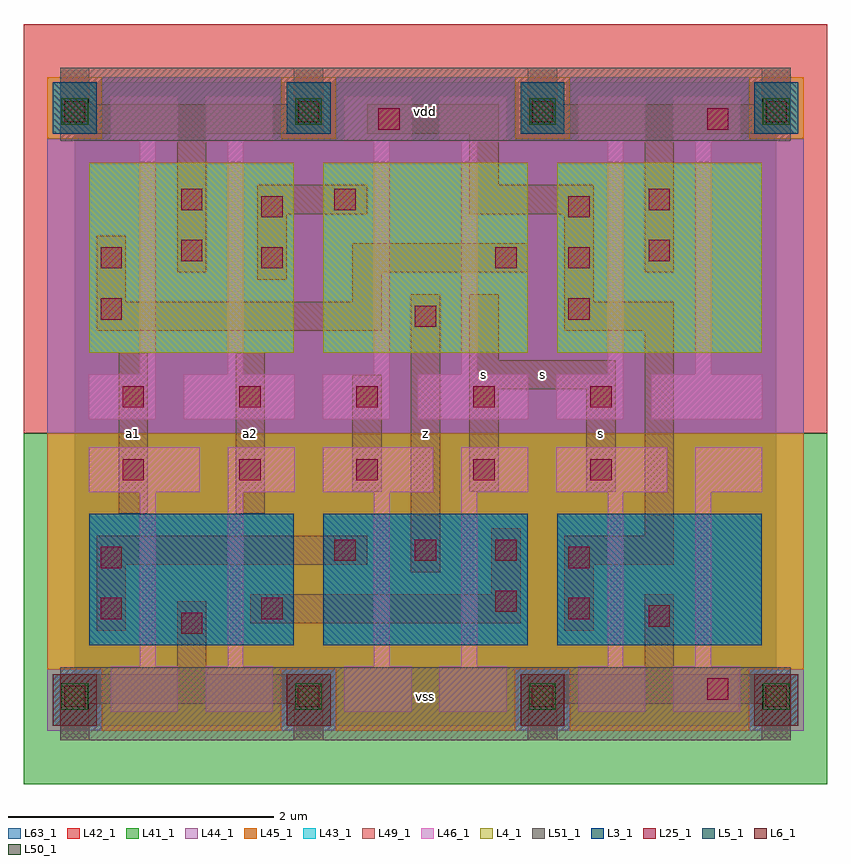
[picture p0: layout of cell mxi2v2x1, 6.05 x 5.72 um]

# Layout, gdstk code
import gdstk
lib = gdstk.Library(unit=1e-6, precision=1e-09)
def R(c, l, rs):  # rectangles x0, y0, x1, y1
    for r in rs: c.add(gdstk.rectangle(r[:2], r[2:], *l))
def A(c, l, x, y, w, h, nx, ny, dx, dy):  # array of equal rectangles
    R(c, l, [(x+i*dx, y+j*dy, x+i*dx+w, y+j*dy+h) for i in range(nx) for j in range(ny)])
L3_1 = (3, 1)
L4_1 = (4, 1)
L5_1 = (5, 1)
L6_1 = (6, 1)
L25_1 = (25, 1)
L41_1 = (41, 1)
L42_1 = (42, 1)
L43_1 = (43, 1)
L44_1 = (44, 1)
L45_1 = (45, 1)
L46_1 = (46, 1)
L49_1 = (49, 1)
L50_1 = (50, 1)
L51_1 = (51, 1)
L63_1 = (63, 1)

mxi2v2x1 = lib.new_cell('mxi2v2x1')
A(mxi2v2x1, L3_1, 0.11, 0.605, 1.54, 0.99, 3, 1, 1.76, 0)
A(mxi2v2x1, L4_1, 0.11, 2.805, 1.54, 1.43, 3, 1, 1.76, 0)
A(mxi2v2x1, L5_1, -0.165, 4.455, 0.33, 0.385, 4, 1, 1.76, 0)
A(mxi2v2x1, L6_1, -0.165, 0, 0.33, 0.385, 4, 1, 1.76, 0)
A(mxi2v2x1, L25_1, -0.08, 0.14, 0.16, 0.16, 4, 2, 1.76, 4.4)
A(mxi2v2x1, L25_1, 1.955, 1.24, 0.16, 0.16, 3, 1, 0.605, 0)
A(mxi2v2x1, L25_1, 0.36, 1.845, 0.16, 0.16, 5, 2, 0.88, 0.55)
A(mxi2v2x1, L25_1, 3.715, 3.055, 0.16, 0.16, 1, 3, 0, 0.385)
R(mxi2v2x1, L25_1, [(4.76,0.195,4.92,0.355), (0.8,0.69,0.96,0.85), (4.32,0.745,4.48,0.905), (0.195,0.8,0.355,0.96), (1.405,0.8,1.565,0.96), (3.715,0.8,3.875,0.96), (3.165,0.855,3.325,1.015), (0.195,1.185,0.355,1.345), (3.715,1.185,3.875,1.345), (2.56,3,2.72,3.16), (0.195,3.055,0.355,3.215), (0.195,3.44,0.355,3.6), (1.405,3.44,1.565,3.6), (3.165,3.44,3.325,3.6), (0.8,3.495,0.96,3.655), (4.32,3.495,4.48,3.655), (1.405,3.825,1.565,3.985), (0.8,3.88,0.96,4.04), (1.955,3.88,2.115,4.04), (4.32,3.88,4.48,4.04), (2.285,4.485,2.445,4.645), (4.76,4.485,4.92,4.645)])
R(mxi2v2x1, L41_1, [(-0.385,-0.44,5.665,2.2)])
R(mxi2v2x1, L42_1, [(-0.385,2.2,5.665,5.28)])
A(mxi2v2x1, L43_1, -0.165, 0, 0.33, 0.385, 4, 2, 1.76, 4.455)
A(mxi2v2x1, L43_1, 0.11, 0.605, 1.54, 0.99, 3, 1, 1.76, 0)
A(mxi2v2x1, L43_1, 0.11, 2.805, 1.54, 1.43, 3, 1, 1.76, 0)
A(mxi2v2x1, L44_1, -0.205, -0.04, 0.41, 0.465, 4, 1, 1.76, 0)
A(mxi2v2x1, L44_1, 0.205, 4.415, 1.35, 0.465, 3, 1, 1.76, 0)
R(mxi2v2x1, L44_1, [(-0.205,2.2,5.485,4.415)])
A(mxi2v2x1, L45_1, 0.205, -0.04, 1.35, 0.465, 3, 1, 1.76, 0)
A(mxi2v2x1, L45_1, -0.205, 4.415, 0.41, 0.465, 4, 1, 1.76, 0)
R(mxi2v2x1, L45_1, [(-0.205,0.425,5.485,2.2)])
A(mxi2v2x1, L46_1, 0.105, 1.755, 0.835, 0.34, 3, 1, 1.76, 0)
A(mxi2v2x1, L46_1, 1.15, 1.755, 0.505, 0.34, 3, 1, 1.76, 0)
A(mxi2v2x1, L46_1, 0.105, 2.305, 0.505, 0.34, 3, 1, 1.76, 0)
A(mxi2v2x1, L46_1, 0.82, 2.305, 0.835, 0.34, 3, 1, 1.76, 0)
R(mxi2v2x1, L46_1, [(0.27,0.105,0.775,0.445), (0.985,0.105,1.49,0.445), (2.03,0.105,2.535,0.445), (2.745,0.105,3.25,0.445), (3.79,0.105,4.295,0.445), (4.505,0.105,5.01,0.445), (0.49,0.445,0.61,1.755), (1.15,0.445,1.27,1.755), (2.25,0.445,2.37,1.755), (2.91,0.445,3.03,1.755), (4.01,0.445,4.13,1.755), (4.67,0.445,4.79,1.755), (0.49,2.645,0.61,4.395), (1.15,2.645,1.27,4.395), (2.25,2.645,2.37,4.395), (2.91,2.645,3.03,4.395), (4.01,2.645,4.13,4.395), (4.67,2.645,4.79,4.395), (0.27,4.395,0.775,4.735), (0.985,4.395,1.49,4.735), (2.03,4.395,2.535,4.735), (2.745,4.395,3.25,4.735), (3.79,4.395,4.295,4.735), (4.505,4.395,5.01,4.735)])
A(mxi2v2x1, L49_1, -0.11, -0.11, 0.22, 0.275, 4, 2, 1.76, 4.785)
R(mxi2v2x1, L49_1, [(-0.11,0.165,1.87,0.385), (3.41,0.165,5.39,0.385), (0.77,0.385,0.99,0.935), (4.29,0.385,4.51,0.99), (0.165,0.715,0.385,1.21), (3.685,0.715,3.905,1.21), (1.32,0.77,3.355,0.99), (3.135,0.99,3.355,1.485), (2.53,1.155,2.75,3.245), (0.165,1.21,2.2,1.43), (3.685,1.21,4.51,1.43), (4.29,1.43,4.51,2.97), (0.33,1.595,0.55,2.805), (1.21,1.595,1.43,2.805), (2.09,1.76,2.31,2.64), (2.97,1.76,3.19,2.53), (3.85,1.76,4.07,2.53), (2.97,2.53,4.07,2.75), (2.97,2.75,3.19,3.245), (0.165,2.97,2.31,3.19), (3.685,2.97,4.51,3.19), (0.165,3.19,0.385,3.685), (2.09,3.19,2.31,3.41), (3.685,3.19,3.905,3.85), (1.375,3.355,1.595,3.85), (0.77,3.41,0.99,4.455), (2.09,3.41,3.41,3.63), (4.29,3.41,4.51,4.455), (1.375,3.85,2.2,4.07), (2.97,3.85,3.905,4.07), (2.97,4.07,3.19,4.455), (-0.11,4.455,1.87,4.675), (2.2,4.455,3.19,4.675), (3.41,4.455,5.39,4.675)])
A(mxi2v2x1, L50_1, -0.1, 0.12, 0.2, 0.2, 4, 2, 1.76, 4.4)
R(mxi2v2x1, L51_1, [(-0.11,-0.11,5.39,0.44), (-0.11,4.4,5.39,4.95)])
R(mxi2v2x1, L63_1, [(0,0,5.28,4.84)])
mxi2v2x1.add(gdstk.Label('a1', (0.44,2.2), layer=49, texttype=1))
mxi2v2x1.add(gdstk.Label('a2', (1.32,2.2), layer=49, texttype=1))
mxi2v2x1.add(gdstk.Label('z', (2.64,2.2), layer=49, texttype=1))
mxi2v2x1.add(gdstk.Label('s', (3.08,2.64), layer=49, texttype=1))
mxi2v2x1.add(gdstk.Label('s', (3.96,2.2), layer=49, texttype=1))
mxi2v2x1.add(gdstk.Label('s', (3.52,2.64), layer=49, texttype=1))
mxi2v2x1.add(gdstk.Label('vss', (2.64,0.22), layer=51, texttype=1))
mxi2v2x1.add(gdstk.Label('vdd', (2.64,4.62), layer=51, texttype=1))

lib.write_gds('mxi2v2x1.gds')
